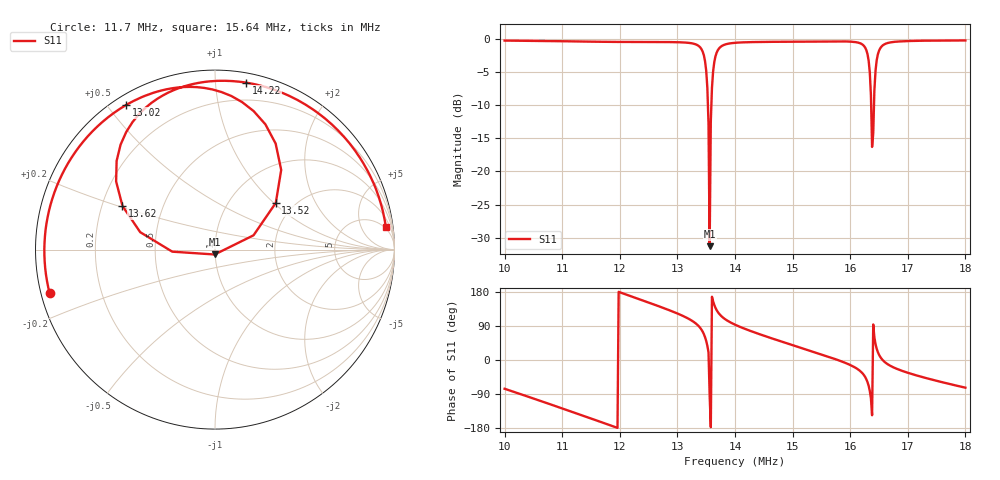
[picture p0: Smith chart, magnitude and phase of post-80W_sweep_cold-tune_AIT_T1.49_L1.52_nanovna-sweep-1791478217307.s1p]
! NanoVNA Web complex sweep
! Processing: original sample grid, no browser smoothing
# Hz S RI R 50
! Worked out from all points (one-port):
!   401 points, 10 MHz to 18 MHz, reference 50 ohm
!   lowest |S11| = -31.3 dB at 13.56 MHz (marker M1), VSWR 1.06, Z = 49.8 - j2.71 ohm
!   |S11| at or under -10 dB: 13.52966 MHz to 13.58967 MHz (60 kHz wide, 0.443 % of centre); 16.36388 MHz to 16.41298 MHz (49.11 kHz wide, 0.3 % of centre)
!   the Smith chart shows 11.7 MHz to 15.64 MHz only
!   S11 on the Smith chart (normalised r, x): 11.7 MHz: 0.02, -0.13; 13.02 MHz: 0.04, +0.56; 13.52 MHz: 1.62, +1.03; 13.62 MHz: 0.29, +0.21; 14.22 MHz: 0.07, +1.20; 15.64 MHz: 4, +14
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1e7  0.2366 -0.9441
1.1e7  -0.59 -0.7606
1.17e7  -0.9212 -0.2443
1.2e7  -0.9505 0.0211
1.25e7  -0.8356 0.451
1.3e7  -0.5115 0.7958
1.302e7  -0.4935 0.8069
1.338e7  0.0358 0.8779
1.348e7  0.338 0.5905
1.352e7  0.3388 0.2603
1.356e7  -0.00175 -0.0273
1.36e7  -0.4167 0.097
1.362e7  -0.5154 0.2429
1.376e7  -0.3882 0.7892
1.4e7  -0.0529 0.9348
1.422e7  0.1737 0.9303
1.5e7  0.7402 0.6034
1.564e7  0.9513 0.128
1.6e7  0.9288 -0.2186
1.62e7  0.7694 -0.4985
1.63e7  0.4073 -0.6544
1.634e7  0.0852 -0.555
1.638e7  -0.1267 -0.0862
1.644e7  0.4308 0.3861
1.654e7  0.8713 0.0636
1.672e7  0.9044 -0.2795
1.7e7  0.8031 -0.5356
1.8e7  0.2846 -0.9331
